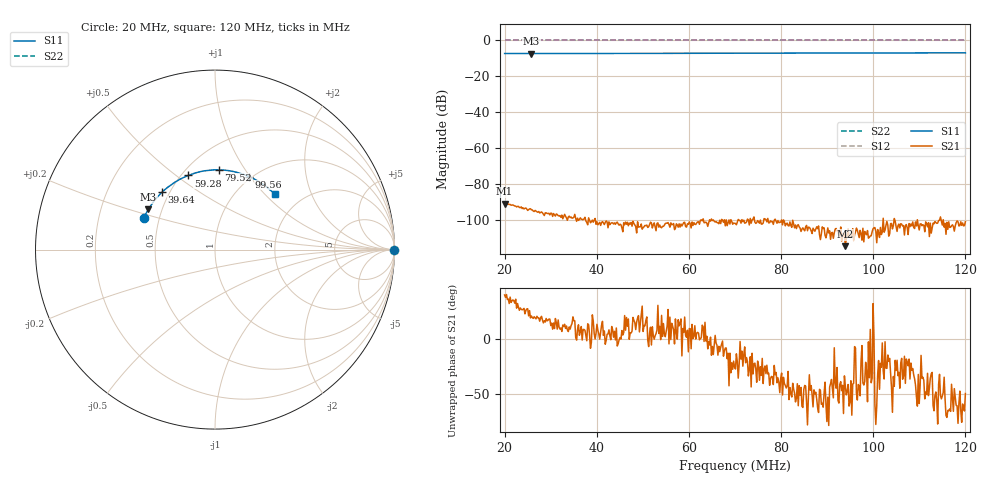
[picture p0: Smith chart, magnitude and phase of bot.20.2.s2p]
! Anritsu VNA Master:  Model: MS2036C/10/77
! SN:  1601066
! /bd0/18may08.cable.cal/bot.20.2.s2p
! Existing Calibration Information:
! TYPE:  Current Settings,  Active Cal Settings
! TIME:  05/08/2018 06:07:41 PM,  05/08/2018 05:57:55 PM
! INTERNAL TEMP:  49.3 C,  49.3 C
! # POINTS:  500,  500
! START FREQ:  20.000 MHz,  20.000 MHz
! STOP FREQ:  120.000 MHz,  120.000 MHz
! SOURCE POWER:  High,  High
! IFBW:  50 Hz,  50 Hz
! AVG FACTOR:  1 ,  1
! REF PLANE 1:  0 mm,  0 mm
! REF PLANE 2:  0 mm,  0 mm
! CAL TYPE:  Full S11,  Full S11
! CAL METHOD:  SOLT,  SOLT
! CAL LINE TYPE:  Coax,  Coax
! DUT PORT 1:  K-Conn(F),  K-Conn(F)
! DUT PORT 2:  K-Conn(F),  K-Conn(F)
! CAL STATUS:  OK: Accuracy High,  --
# GHZ S DB R 50.0
! FREQ.GHZ  S11DB  S11A  S21DB  S21A  S12DB  S12A  S22DB  S22A
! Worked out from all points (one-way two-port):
!   500 points, 20 MHz to 120 MHz, reference 50 ohm
!   highest |S21| = -90.72 dB at 20 MHz (marker M1); lowest = -114.4 dB at 93.95 MHz (marker M2)
!   lowest |S11| = -7.3 dB at 25.81 MHz (marker M3), VSWR 2.53, Z = 21 + j11.6 ohm
!   |S11| at or under -10 dB: nowhere
!   |S22| runs from 0.0 to 0.0 dB; largest |S21 - S12| = 1
!   S11 on the Smith chart (normalised r, x): 20 MHz: 0.41, +0.18; 39.64 MHz: 0.46, +0.36; 59.28 MHz: 0.54, +0.55; 79.52 MHz: 0.70, +0.77; 99.56 MHz: 0.97, +0.99; 120 MHz: 1.47, +1.14
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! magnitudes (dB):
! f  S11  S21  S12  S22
! 20 MHz  -7.2  -90.7  0.0  0.0
! 25.81 MHz  -7.3  -94.2  0.0  0.0
! 28.82 MHz  -7.3  -95.9  0.0  0.0
! 30.62 MHz  -7.2  -96.3  0.0  0.0
! 31.62 MHz  -7.2  -97.4  0.0  0.0
! 36.83 MHz  -7.2  -99.6  0.0  0.0
! 39.64 MHz  -7.2  -99.0  0.0  0.0
! 46.45 MHz  -7.2  -102.2  0.0  0.0
! 53.47 MHz  -7.2  -103.8  0.0  0.0
! 56.67 MHz  -7.2  -101.8  0.0  0.0
! 59.28 MHz  -7.1  -103.5  0.0  0.0
! 61.88 MHz  -7.1  -100.9  0.0  0.0
! 62.89 MHz  -7.1  -100.3  0.0  0.0
! 70.1 MHz  -7.1  -101.7  0.0  0.0
! 79.52 MHz  -7.0  -101.3  0.0  0.0
! 86.73 MHz  -7.0  -107.4  0.0  0.0
! 93.95 MHz  -7.0  -114.4  0.0  0.0
! 99.56 MHz  -7.0  -108.6  0.0  0.0
! 101 MHz  -6.9  -105.1  0.0  0.0
! 103.4 MHz  -6.9  -108.8  0.0  0.0
! 116 MHz  -6.9  -101.1  0.0  0.0
! 120 MHz  -6.9  -100.8  0.0  0.0
